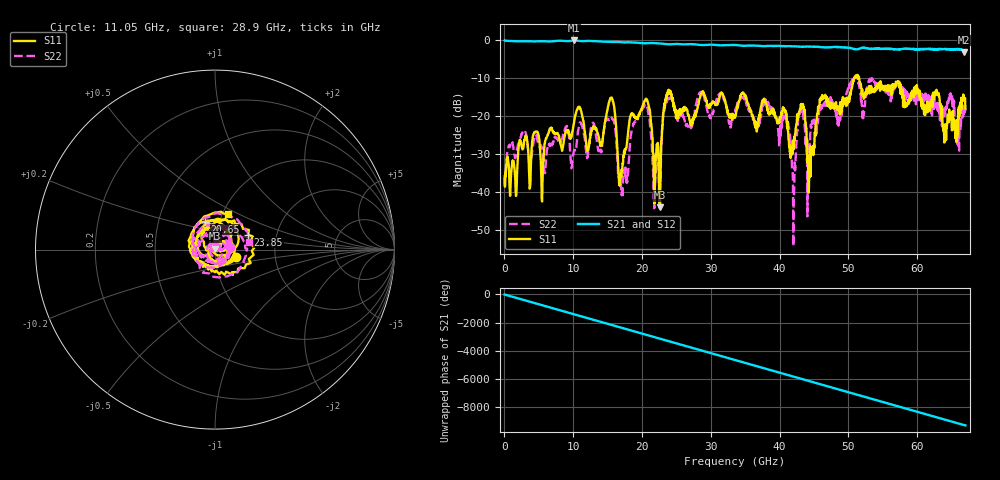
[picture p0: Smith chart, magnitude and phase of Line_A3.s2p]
#  HZ  S  MA  R  50.00
! Rohde & Schwarz ZVA67 4Ports - Version 4.11 - 1305.7002k04 SN: 101051
! Date: 2023-05-31 14:03:59
! Measurements: S11 S21 S12 S22
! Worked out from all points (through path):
!   1340 points, 50 MHz to 67 GHz, reference 50 ohm
!   highest |S21| = -0.03 dB at 10.15 GHz (marker M1); lowest = -3.1 dB at 66.85 GHz (marker M2)
!   group delay of S21, straight-line fit = 385 ps
!   lowest |S11| = -43.9 dB at 22.6 GHz (marker M3), VSWR 1.01, Z = 49.8 + j0.595 ohm
!   |S11| at or under -10 dB: start of sweep to 50.84 GHz; 51.56 GHz to end of sweep
!   |S22| runs from -54.2 to -9.5 dB; largest |S21 - S12| = 0.28
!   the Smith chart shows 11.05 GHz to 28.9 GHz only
!   S11 on the Smith chart (normalised r, x): 11.05 GHz: 1.26, -0.11; 20.65 GHz: 0.85, +0.27; 23.85 GHz: 1.43, +0.25; 28.9 GHz: 1.07, +0.44
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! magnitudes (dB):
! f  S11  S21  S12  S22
! 50 MHz  -36.4  0.0  -0.1  -35.4
! 10.15 GHz  -21.5  0.0  0.0  -29.1
! 11.05 GHz  -18.1  -0.2  -0.2  -21.6
! 11.25 GHz  -19.3  -0.2  -0.2  -22.2
! 14.05 GHz  -27.5  -0.3  -0.3  -28.8
! 15.65 GHz  -15.3  -0.4  -0.4  -20.5
! 17 GHz  -35.9  -0.5  -0.5  -39.9
! 20.65 GHz  -15.6  -0.8  -0.8  -17.1
! 22.4 GHz  -29.8  -0.8  -0.8  -32.5
! 22.6 GHz  -43.9  -0.8  -0.8  -41.3
! 23.85 GHz  -13.9  -1.0  -1.0  -15.5
! 28.9 GHz  -13.5  -1.2  -1.2  -14.1
! 33.55 GHz  -20.3  -1.2  -1.2  -18.3
! 40.85 GHz  -18.4  -1.5  -1.6  -20.5
! 42 GHz  -28.8  -1.6  -1.6  -54.2
! 43 GHz  -17.9  -1.7  -1.7  -18.6
! 44.05 GHz  -32.3  -1.6  -1.7  -46.3
! 44.7 GHz  -28.7  -1.7  -1.7  -21.4
! 46.25 GHz  -15.5  -1.8  -1.8  -17.8
! 55.85 GHz  -12.9  -2.2  -2.2  -14.4
! 66.85 GHz  -15.2  -3.1  -3.0  -19.5
! 67 GHz  -18.0  -2.9  -2.8  -19.4
